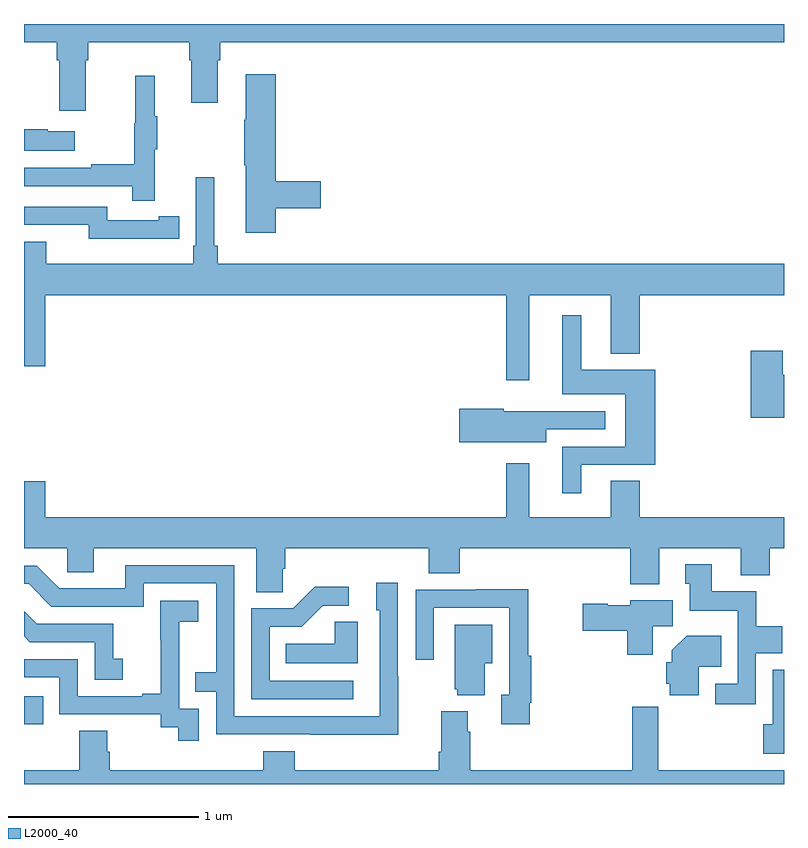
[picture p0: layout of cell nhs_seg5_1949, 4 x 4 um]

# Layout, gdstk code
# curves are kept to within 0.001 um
import gdstk
lib = gdstk.Library(unit=1e-6, precision=1e-09)
def R(c, l, rs):  # rectangles x0, y0, x1, y1
    for r in rs: c.add(gdstk.rectangle(r[:2], r[2:], *l))
def P(c, l, *ps):  # polygons
    for p in ps: c.add(gdstk.Polygon(p, *l))
L2000_40 = (2000, 40)

nhs_seg5_1949 = lib.new_cell('nhs_seg5_1949')
R(nhs_seg5_1949, L2000_40, [(225,909.114,225.101,909.261)])
P(nhs_seg5_1949, L2000_40, [(225,912.704),(225.173,912.704),(225.173,912.608),(225.185,912.608),(225.185,912.342),(225.325,912.342),(225.325,912.608),(225.338,912.608),(225.338,912.704),(225.869,912.704),(225.869,912.608),(225.881,912.608),(225.881,912.384),(226.021,912.384),(226.021,912.608),(226.034,912.608),(226.034,912.704),(229,912.704),(229,912.799),(225,912.799)],
  [(226.325,911.83),(226.561,911.83),(226.561,911.972),(226.325,911.972),(226.325,912.535),(226.166,912.535),(226.166,912.296),(226.159,912.296),(226.159,912.055),(226.166,912.055),(226.166,911.7),(226.325,911.7)],
  [(225.689,912.139),(225.7,912.139),(225.7,912.313),(225.689,912.313),(225.689,912.526),(225.586,912.526),(225.586,912.276),(225.579,912.276),(225.579,912.062),(225.355,912.062),(225.355,912.042),(225,912.042),(225,911.946),(225.571,911.946),(225.571,911.868),(225.689,911.868)],
  [(225.268,912.235),(225.125,912.235),(225.125,912.245),(225,912.245),(225,912.131),(225.268,912.131)],
  [(227.659,911.372),(228.089,911.372),(228.089,911.063),(228.242,911.063),(228.242,911.372),(229,911.372),(229,911.536),(226.019,911.536),(226.019,911.632),(226,911.632),(226,911.992),(225.903,911.992),(225.903,911.632),(225.89,911.632),(225.89,911.536),(225.118,911.536),(225.118,911.653),(225,911.653),(225,910.998),(225.112,910.998),(225.112,911.372),(227.538,911.372),(227.538,910.923),(227.659,910.923)],
  [(225.71,911.67),(225.818,911.67),(225.818,911.786),(225.71,911.786),(225.71,911.766),(225.438,911.766),(225.438,911.838),(225,911.838),(225,911.742),(225.342,911.742),(225.342,911.669),(225.71,911.669)],
  [(227.932,910.479),(228.323,910.479),(228.323,910.978),(227.932,910.978),(227.932,911.266),(227.834,911.266),(227.834,910.85),(228.164,910.85),(228.164,910.575),(227.834,910.575),(227.834,910.329),(227.932,910.329)],
  [(229,910.952),(228.994,910.952),(228.994,911.08),(228.824,911.08),(228.824,910.727),(229,910.727)],
  [(227.749,910.665),(228.058,910.665),(228.058,910.761),(227.745,910.761),(227.745,910.762),(227.526,910.762),(227.526,910.775),(227.292,910.775),(227.292,910.597),(227.749,910.597)],
  [(226.362,909.931),(226.376,909.931),(226.376,910.04),(227.129,910.04),(227.129,909.907),(227.294,909.907),(227.294,910.04),(228.191,910.04),(228.191,909.851),(228.343,909.851),(228.343,910.04),(228.773,910.04),(228.773,909.899),(228.926,909.899),(228.926,910.04),(229,910.04),(229,910.204),(228.242,910.204),(228.242,910.394),(228.089,910.394),(228.089,910.204),(227.659,910.204),(227.659,910.486),(227.538,910.486),(227.538,910.204),(225.112,910.204),(225.112,910.393),(225,910.393),(225,910.04),(225.228,910.04),(225.228,909.913),(225.367,909.913),(225.367,910.04),(226.223,910.04),(226.223,909.808),(226.362,909.808)],
  [(228.852,909.488),(228.991,909.488),(228.991,909.628),(228.855,909.628),(228.855,909.814),(228.619,909.814),(228.619,909.955),(228.479,909.955),(228.479,909.852),(228.503,909.852),(228.503,909.71),(228.756,909.71),(228.756,909.327),(228.639,909.327),(228.639,909.219),(228.852,909.219)],
  [(226.971,909.365),(226.968,909.365),(226.968,909.859),(226.853,909.859),(226.853,909.714),(226.872,909.714),(226.872,909.156),(226.107,909.156),(226.107,909.951),(225.533,909.951),(225.533,909.828),(225.186,909.828),(225.066,909.948),(225,909.948),(225,909.852),(225.024,909.852),(225.144,909.732),(225.63,909.732),(225.63,909.855),(226.011,909.855),(226.011,909.386),(225.901,909.386),(225.901,909.285),(226.011,909.285),(226.011,909.06),(226.971,909.059)],
  [(226.732,909.342),(226.293,909.342),(226.293,909.627),(226.462,909.627),(226.573,909.738),(226.708,909.738),(226.708,909.836),(226.529,909.836),(226.416,909.723),(226.197,909.723),(226.197,909.246),(226.732,909.246)],
  [(227.662,909.226),(227.669,909.226),(227.669,909.473),(227.654,909.473),(227.654,909.824),(227.377,909.824),(227.377,909.822),(227.061,909.822),(227.061,909.453),(227.157,909.453),(227.157,909.726),(227.553,909.726),(227.553,909.27),(227.513,909.27),(227.513,909.114),(227.662,909.114)],
  [(228.309,909.628),(228.415,909.628),(228.415,909.766),(228.192,909.766),(228.192,909.739),(228.072,909.739),(228.072,909.747),(227.94,909.747),(227.94,909.605),(228.176,909.605),(228.176,909.48),(228.309,909.48)],
  [(225.921,909.195),(225.816,909.195),(225.816,909.425),(225.818,909.425),(225.818,909.653),(225.916,909.653),(225.916,909.763),(225.718,909.763),(225.718,909.557),(225.719,909.557),(225.719,909.274),(225.623,909.274),(225.623,909.261),(225.282,909.261),(225.282,909.456),(225,909.456),(225,909.36),(225.186,909.36),(225.186,909.165),(225.72,909.165),(225.72,909.097),(225.813,909.097),(225.813,909.027),(225.921,909.027)],
  [(225.52,909.457),(225.471,909.457),(225.471,909.642),(225.067,909.642),(225,909.709),(225,909.576),(225.03,909.546),(225.372,909.546),(225.372,909.348),(225.52,909.348)],
  [(226.756,909.653),(226.635,909.653),(226.635,909.538),(226.378,909.538),(226.378,909.434),(226.756,909.434)],
  [(227.425,909.434),(227.464,909.434),(227.464,909.637),(227.267,909.637),(227.267,909.297),(227.279,909.297),(227.279,909.266),(227.425,909.266)],
  [(228.55,909.416),(228.671,909.416),(228.671,909.58),(228.488,909.58),(228.41,909.502),(228.41,909.441),(228.381,909.441),(228.381,909.327),(228.398,909.327),(228.398,909.266),(228.55,909.266)],
  [(229,909.4),(228.941,909.4),(228.941,909.114),(228.89,909.114),(228.89,908.958),(229,908.958)],
  [(229,908.872),(228.338,908.872),(228.338,909.205),(228.202,909.205),(228.202,908.872),(227.348,908.872),(227.348,909.074),(227.335,909.074),(227.335,909.181),(227.195,909.181),(227.195,908.968),(227.183,908.968),(227.183,908.872),(226.424,908.872),(226.424,908.971),(226.259,908.971),(226.259,908.872),(225.452,908.872),(225.452,908.97),(225.439,908.97),(225.439,909.08),(225.292,909.08),(225.292,908.872),(225,908.872),(225,908.799),(229,908.799)])

lib.write_gds('nhs_seg5_1949.gds')
